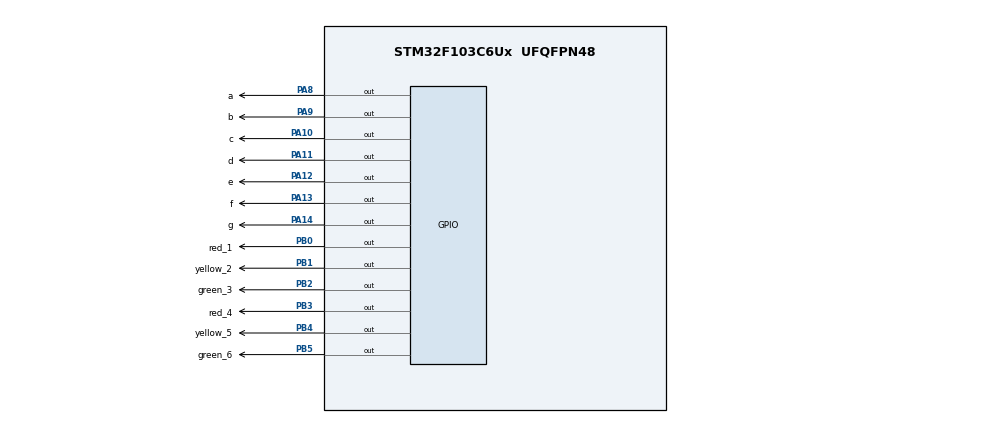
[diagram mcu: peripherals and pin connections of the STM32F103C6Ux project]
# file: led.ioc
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Mcu.Family=STM32F1
Mcu.Name=STM32F103C6Ux
Mcu.Package=UFQFPN48
NVIC.PriorityGroup=NVIC_PRIORITYGROUP_4
PA10.GPIO_Label=c
PA10.Signal=GPIO_Output
PA11.GPIO_Label=d
PA11.Signal=GPIO_Output
PA12.GPIO_Label=e
PA12.Signal=GPIO_Output
PA13.GPIO_Label=f
PA13.Signal=GPIO_Output
PA14.GPIO_Label=g
PA14.Signal=GPIO_Output
PA8.GPIO_Label=a
PA8.Signal=GPIO_Output
PA9.GPIO_Label=b
PA9.Signal=GPIO_Output
PB0.GPIO_Label=red_1
PB0.Signal=GPIO_Output
PB1.GPIO_Label=yellow_2
PB1.Signal=GPIO_Output
PB2.GPIO_Label=green_3
PB2.Signal=GPIO_Output
PB3.GPIO_Label=red_4
PB3.Signal=GPIO_Output
PB4.GPIO_Label=yellow_5
PB4.Signal=GPIO_Output
PB5.GPIO_Label=green_6
PB5.Signal=GPIO_Output
ProjectManager.HeapSize=0x200
ProjectManager.StackSize=0x400
ProjectManager.TargetToolchain=STM32CubeIDE
RCC.APB1Freq_Value=8000000
RCC.APB2Freq_Value=8000000
VP_SYS_VS_ND.Mode=No_Debug
board=custom

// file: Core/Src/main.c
/* USER CODE BEGIN Header */
/**
  ******************************************************************************
  * @file           : main.c
  * @brief          : Main program body
  ******************************************************************************
  * @attention
  *
  * <h2><center>&copy; Copyright (c) 2025 STMicroelectronics.
  * All rights reserved.</center></h2>
  *
  * This software component is licensed by ST under BSD 3-Clause license,
  * the "License"; You may not use this file except in compliance with the
  * License. You may obtain a copy of the License at:
  *                        opensource.org/licenses/BSD-3-Clause
  *
  ******************************************************************************
  */
/* USER CODE END Header */
#include "main.h"

void SystemClock_Config(void);
static void MX_GPIO_Init(void);

int main(void)
{

  /* MCU Configuration--------------------------------------------------------*/

  /* Reset of all peripherals, Initializes the Flash interface and the Systick. */
  HAL_Init();

  /* Configure the system clock */
  SystemClock_Config();

  /* Initialize all configured peripherals */
  MX_GPIO_Init();

  /* Infinite loop */
  /* USER CODE BEGIN WHILE */
  void display7SEG(int num)
    {
        switch (num)
        {
            case 0:
                HAL_GPIO_WritePin(a_GPIO_Port, a_Pin, GPIO_PIN_RESET);
                HAL_GPIO_WritePin(b_GPIO_Port, b_Pin, GPIO_PIN_RESET);
                HAL_GPIO_WritePin(c_GPIO_Port, c_Pin, GPIO_PIN_RESET);
                HAL_GPIO_WritePin(d_GPIO_Port, d_Pin, GPIO_PIN_RESET);
                HAL_GPIO_WritePin(e_GPIO_Port, e_Pin, GPIO_PIN_RESET);
                HAL_GPIO_WritePin(f_GPIO_Port, f_Pin, GPIO_PIN_RESET);
                HAL_GPIO_WritePin(g_GPIO_Port, g_Pin, GPIO_PIN_SET);
                break;

            case 1:
                HAL_GPIO_WritePin(a_GPIO_Port, a_Pin, GPIO_PIN_SET);
                HAL_GPIO_WritePin(b_GPIO_Port, b_Pin, GPIO_PIN_RESET);
                HAL_GPIO_WritePin(c_GPIO_Port, c_Pin, GPIO_PIN_RESET);
                HAL_GPIO_WritePin(d_GPIO_Port, d_Pin, GPIO_PIN_SET);
                HAL_GPIO_WritePin(e_GPIO_Port, e_Pin, GPIO_PIN_SET);
                HAL_GPIO_WritePin(f_GPIO_Port, f_Pin, GPIO_PIN_SET);
                HAL_GPIO_WritePin(g_GPIO_Port, g_Pin, GPIO_PIN_SET);
                break;

            case 2:
                HAL_GPIO_WritePin(a_GPIO_Port, a_Pin, GPIO_PIN_RESET);
                HAL_GPIO_WritePin(b_GPIO_Port, b_Pin, GPIO_PIN_RESET);
                HAL_GPIO_WritePin(c_GPIO_Port, c_Pin, GPIO_PIN_SET);
                HAL_GPIO_WritePin(d_GPIO_Port, d_Pin, GPIO_PIN_RESET);
                HAL_GPIO_WritePin(e_GPIO_Port, e_Pin, GPIO_PIN_RESET);
                HAL_GPIO_WritePin(f_GPIO_Port, f_Pin, GPIO_PIN_SET);
                HAL_GPIO_WritePin(g_GPIO_Port, g_Pin, GPIO_PIN_RESET);
                break;

            case 3:
                HAL_GPIO_WritePin(a_GPIO_Port, a_Pin, GPIO_PIN_RESET);
                HAL_GPIO_WritePin(b_GPIO_Port, b_Pin, GPIO_PIN_RESET);
                HAL_GPIO_WritePin(c_GPIO_Port, c_Pin, GPIO_PIN_RESET);
                HAL_GPIO_WritePin(d_GPIO_Port, d_Pin, GPIO_PIN_RESET);
                HAL_GPIO_WritePin(e_GPIO_Port, e_Pin, GPIO_PIN_SET);
                HAL_GPIO_WritePin(f_GPIO_Port, f_Pin, GPIO_PIN_SET);
                HAL_GPIO_WritePin(g_GPIO_Port, g_Pin, GPIO_PIN_RESET);
                break;

            case 4:
                HAL_GPIO_WritePin(a_GPIO_Port, a_Pin, GPIO_PIN_SET);
                HAL_GPIO_WritePin(b_GPIO_Port, b_Pin, GPIO_PIN_RESET);
                HAL_GPIO_WritePin(c_GPIO_Port, c_Pin, GPIO_PIN_RESET);
                HAL_GPIO_WritePin(d_GPIO_Port, d_Pin, GPIO_PIN_SET);
                HAL_GPIO_WritePin(e_GPIO_Port, e_Pin, GPIO_PIN_SET);
                HAL_GPIO_WritePin(f_GPIO_Port, f_Pin, GPIO_PIN_RESET);
                HAL_GPIO_WritePin(g_GPIO_Port, g_Pin, GPIO_PIN_RESET);
                break;

            case 5:
                HAL_GPIO_WritePin(a_GPIO_Port, a_Pin, GPIO_PIN_RESET);
                HAL_GPIO_WritePin(b_GPIO_Port, b_Pin, GPIO_PIN_SET);
                HAL_GPIO_WritePin(c_GPIO_Port, c_Pin, GPIO_PIN_RESET);
                HAL_GPIO_WritePin(d_GPIO_Port, d_Pin, GPIO_PIN_RESET);
  HAL_GPIO_WritePin(e_GPIO_Port, e_Pin, GPIO_PIN_SET);
                HAL_GPIO_WritePin(f_GPIO_Port, f_Pin, GPIO_PIN_RESET);
                HAL_GPIO_WritePin(g_GPIO_Port, g_Pin, GPIO_PIN_RESET);
                break;

            case 6:
                HAL_GPIO_WritePin(a_GPIO_Port, a_Pin, GPIO_PIN_RESET);
                HAL_GPIO_WritePin(b_GPIO_Port, b_Pin, GPIO_PIN_SET);
                HAL_GPIO_WritePin(c_GPIO_Port, c_Pin, GPIO_PIN_RESET);
                HAL_GPIO_WritePin(d_GPIO_Port, d_Pin, GPIO_PIN_RESET);
                HAL_GPIO_WritePin(e_GPIO_Port, e_Pin, GPIO_PIN_RESET);
                HAL_GPIO_WritePin(f_GPIO_Port, f_Pin, GPIO_PIN_RESET);
                HAL_GPIO_WritePin(g_GPIO_Port, g_Pin, GPIO_PIN_RESET);
                break;

            case 7:
                HAL_GPIO_WritePin(a_GPIO_Port, a_Pin, GPIO_PIN_RESET);
                HAL_GPIO_WritePin(b_GPIO_Port, b_Pin, GPIO_PIN_RESET);
                HAL_GPIO_WritePin(c_GPIO_Port, c_Pin, GPIO_PIN_RESET);
                HAL_GPIO_WritePin(d_GPIO_Port, d_Pin, GPIO_PIN_SET);
                HAL_GPIO_WritePin(e_GPIO_Port, e_Pin, GPIO_PIN_SET);
                HAL_GPIO_WritePin(f_GPIO_Port, f_Pin, GPIO_PIN_SET);
                HAL_GPIO_WritePin(g_GPIO_Port, g_Pin, GPIO_PIN_SET);
                break;

            case 8:
                HAL_GPIO_WritePin(a_GPIO_Port, a_Pin, GPIO_PIN_RESET);
                HAL_GPIO_WritePin(b_GPIO_Port, b_Pin, GPIO_PIN_RESET);
                HAL_GPIO_WritePin(c_GPIO_Port, c_Pin, GPIO_PIN_RESET);
                HAL_GPIO_WritePin(d_GPIO_Port, d_Pin, GPIO_PIN_RESET);
                HAL_GPIO_WritePin(e_GPIO_Port, e_Pin, GPIO_PIN_RESET);
                HAL_GPIO_WritePin(f_GPIO_Port, f_Pin, GPIO_PIN_RESET);
                HAL_GPIO_WritePin(g_GPIO_Port, g_Pin, GPIO_PIN_RESET);
                break;

            case 9:
                HAL_GPIO_WritePin(a_GPIO_Port, a_Pin, GPIO_PIN_RESET);
                HAL_GPIO_WritePin(b_GPIO_Port, b_Pin, GPIO_PIN_RESET);
                HAL_GPIO_WritePin(c_GPIO_Port, c_Pin, GPIO_PIN_RESET);
                HAL_GPIO_WritePin(d_GPIO_Port, d_Pin, GPIO_PIN_RESET);
                HAL_GPIO_WritePin(e_GPIO_Port, e_Pin, GPIO_PIN_SET);
                HAL_GPIO_WritePin(f_GPIO_Port, f_Pin, GPIO_PIN_RESET);
                HAL_GPIO_WritePin(g_GPIO_Port, g_Pin, GPIO_PIN_RESET);
                break;

            default:

                break;
        }
    }

  while (1)
  {
	          HAL_GPIO_TogglePin(red_1_GPIO_Port, red_1_Pin);
	    	  HAL_GPIO_TogglePin(green_6_GPIO_Port, green_6_Pin);
	    	  for(int t = 5; t > 2; t--) {
	    		  	           display7SEG(t);
	    		  	           HAL_Delay(1000);
	    		  	       }
	    	  //
	    	  HAL_GPIO_TogglePin(green_6_GPIO_Port, green_6_Pin);
	    	  HAL_GPIO_TogglePin(yellow_5_GPIO_Port, yellow_5_Pin);
	    	  for(int t = 2; t > 0; t--) {
	    		  display7SEG(t);
	    	  	    		  	           HAL_Delay(1000);
	    	  	    		  	       }

	    	  //
	    	  HAL_GPIO_TogglePin(green_3_GPIO_Port, green_3_Pin);
	    	  HAL_GPIO_TogglePin(red_1_GPIO_Port, red_1_Pin);
	    	  HAL_GPIO_TogglePin(yellow_5_GPIO_Port, yellow_5_Pin);
	    	  HAL_GPIO_TogglePin(red_4_GPIO_Port, red_4_Pin);
	    	  for(int t = 3; t > 0; t--) {
	    	  		  	           display7SEG(t);
	    	  		  	           HAL_Delay(1000);
	    	  		  	       }

	    	  //
	    	  HAL_GPIO_TogglePin(green_3_GPIO_Port, green_3_Pin);
	    	  HAL_GPIO_TogglePin(yellow_2_GPIO_Port, yellow_2_Pin);
	    	  for(int t = 2; t > 0; t--) {
	    	  		  	           display7SEG(t);
	    	  		  	           HAL_Delay(1000);
	    	  		  	       }
	    	  	    	  //
	    	  HAL_GPIO_TogglePin(yellow_2_GPIO_Port, yellow_2_Pin);
	    	  HAL_GPIO_TogglePin(red_4_GPIO_Port, red_4_Pin);
    /* USER CODE END WHILE */

  }
}

void SystemClock_Config(void)
{
  RCC_OscInitTypeDef RCC_OscInitStruct = {0};
  RCC_ClkInitTypeDef RCC_ClkInitStruct = {0};

  /** Initializes the RCC Oscillators according to the specified parameters
  * in the RCC_OscInitTypeDef structure.
  */
  RCC_OscInitStruct.OscillatorType = RCC_OSCILLATORTYPE_HSI;
  RCC_OscInitStruct.HSIState = RCC_HSI_ON;
  RCC_OscInitStruct.HSICalibrationValue = RCC_HSICALIBRATION_DEFAULT;
  RCC_OscInitStruct.PLL.PLLState = RCC_PLL_NONE;
  if (HAL_RCC_OscConfig(&RCC_OscInitStruct) != HAL_OK)
  {
    Error_Handler();
  }
  /** Initializes the CPU, AHB and APB buses clocks
  */
  RCC_ClkInitStruct.ClockType = RCC_CLOCKTYPE_HCLK|RCC_CLOCKTYPE_SYSCLK
                              |RCC_CLOCKTYPE_PCLK1|RCC_CLOCKTYPE_PCLK2;
  RCC_ClkInitStruct.SYSCLKSource = RCC_SYSCLKSOURCE_HSI;
  RCC_ClkInitStruct.AHBCLKDivider = RCC_SYSCLK_DIV1;
  RCC_ClkInitStruct.APB1CLKDivider = RCC_HCLK_DIV1;
  RCC_ClkInitStruct.APB2CLKDivider = RCC_HCLK_DIV1;

  if (HAL_RCC_ClockConfig(&RCC_ClkInitStruct, FLASH_LATENCY_0) != HAL_OK)
  {
    Error_Handler();
  }
}

static void MX_GPIO_Init(void)
{
  GPIO_InitTypeDef GPIO_InitStruct = {0};

  /* GPIO Ports Clock Enable */
  __HAL_RCC_GPIOB_CLK_ENABLE();
  __HAL_RCC_GPIOA_CLK_ENABLE();

  /*Configure GPIO pin Output Level */
  HAL_GPIO_WritePin(GPIOB, red_1_Pin|yellow_2_Pin|green_3_Pin|red_4_Pin
                          |yellow_5_Pin|green_6_Pin, GPIO_PIN_RESET);

  /*Configure GPIO pin Output Level */
  HAL_GPIO_WritePin(GPIOA, a_Pin|b_Pin|c_Pin|d_Pin
                          |e_Pin|f_Pin|g_Pin, GPIO_PIN_RESET);

  /*Configure GPIO pins : red_1_Pin yellow_2_Pin green_3_Pin red_4_Pin
                           yellow_5_Pin green_6_Pin */
  GPIO_InitStruct.Pin = red_1_Pin|yellow_2_Pin|green_3_Pin|red_4_Pin
                          |yellow_5_Pin|green_6_Pin;
  GPIO_InitStruct.Mode = GPIO_MODE_OUTPUT_PP;
  GPIO_InitStruct.Pull = GPIO_NOPULL;
  GPIO_InitStruct.Speed = GPIO_SPEED_FREQ_LOW;
  HAL_GPIO_Init(GPIOB, &GPIO_InitStruct);

  /*Configure GPIO pins : a_Pin b_Pin c_Pin d_Pin
                           e_Pin f_Pin g_Pin */
  GPIO_InitStruct.Pin = a_Pin|b_Pin|c_Pin|d_Pin
                          |e_Pin|f_Pin|g_Pin;
  GPIO_InitStruct.Mode = GPIO_MODE_OUTPUT_PP;
  GPIO_InitStruct.Pull = GPIO_NOPULL;
  GPIO_InitStruct.Speed = GPIO_SPEED_FREQ_LOW;
  HAL_GPIO_Init(GPIOA, &GPIO_InitStruct);

}

void Error_Handler(void)
{
  __disable_irq();
  while (1)
  {
  }
}

/************************ (C) COPYRIGHT STMicroelectronics *****END OF FILE****/
